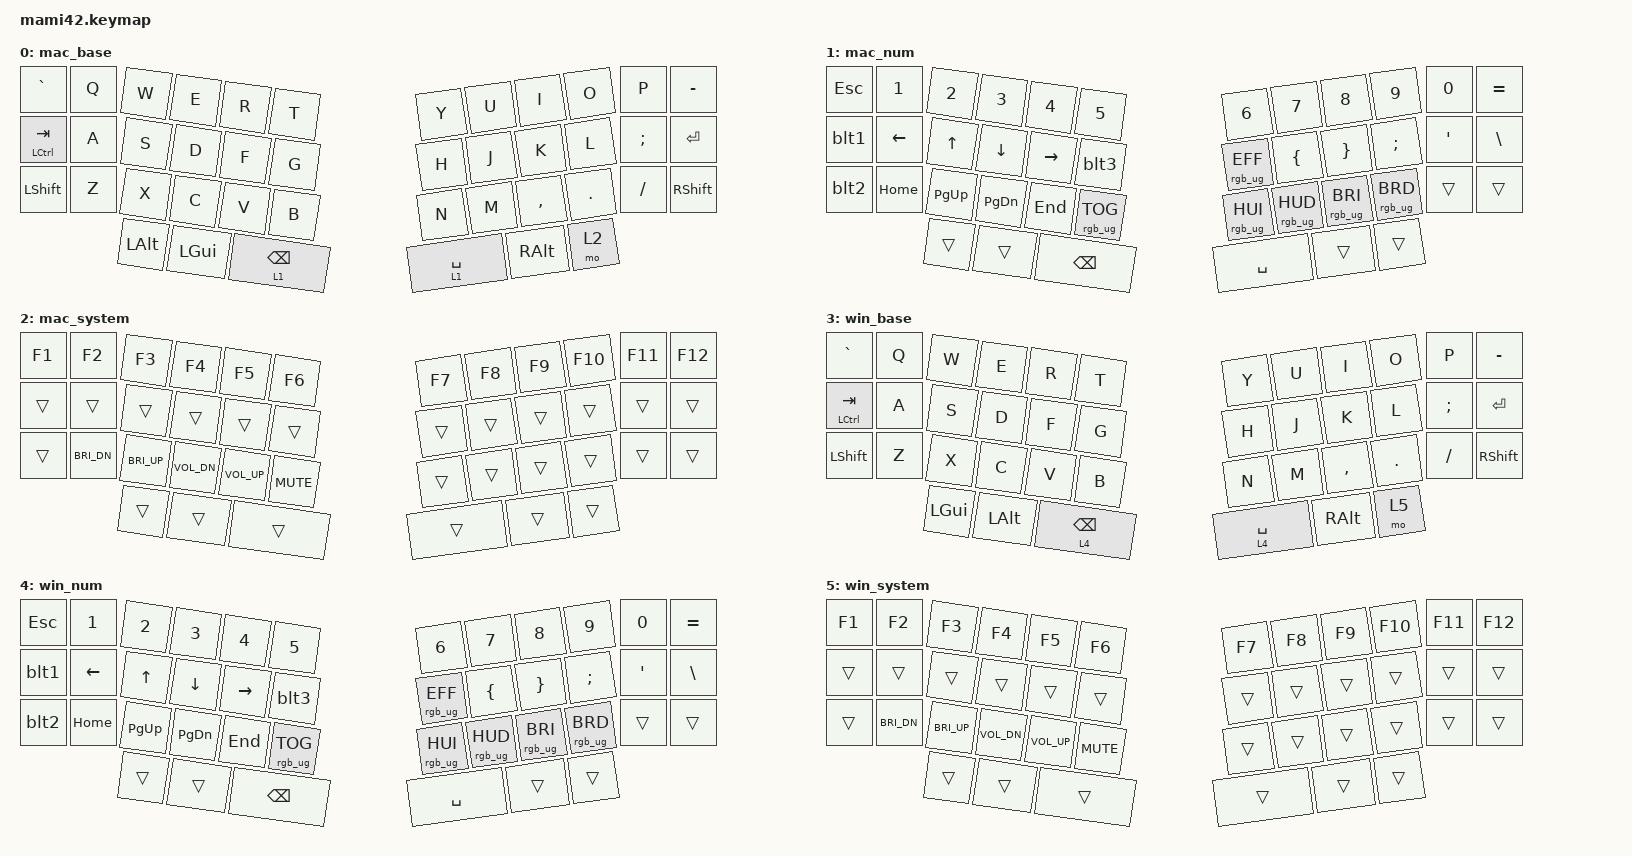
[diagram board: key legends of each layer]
/*
 * mami42 keymap
 *
 * レイヤー構成:
 *   0 mac_base   : Mac用ベースレイヤー (QWERTY)
 *   1 mac_num    : Mac用 数字/矢印/記号/BT選択/RGBレイヤー
 *   2 mac_system : Mac用 ファンクションキー/画面輝度/音量レイヤー
 *   3 win_base   : Windows用ベースレイヤー
 *                  (mac_baseのSW10とSW14を入れ替えたもの)
 *   4 win_num    : Windows用 数字/矢印/記号/BT選択/RGBレイヤー (mac_numと同一)
 *   5 win_system : Windows用 ファンクションキー/画面輝度/音量レイヤー (mac_systemと同一)
 *
 * OS切り替え: 左手中央親指キー(mac_baseではSW14、win_baseではSW10。
 *             どちらもMO(1/4)キー) + 右手中央親指キー(SW32、MO(2/5)キー)の
 *             同時押しコンボでwin_base(レイヤー3)をトグルします。コンボは
 *             物理位置(SW14+SW32)で発火するため、実際のバインディング内容に
 *             関わらず動作します。mac/win それぞれの base layer はすべての
 *             キーを明示的に定義しているので、win_base を on にするだけで
 *             mac_base を隠す(Windowsモードになる)、off にすると mac_base に戻ります。
 *
 * このファイルはたたき台です。実際の割り当ては ZMK Studio でも調整できます。
 * ベースレイヤーの物理配置は kle/layout.json と doc/matrix-mapping.md を参照してください。
 *
 * bindings配列の並びについて:
 *   各レイヤーの bindings は SW1〜SW42 の物理位置順(mami42.overlay の
 *   default_transform / physical_layout と同じ順序)で並べています。
 *   見た目通りの行優先(TAB Q W E R T / ESC A S D F G / ...)では
 *   ズレるので注意してください。各行のコメントに SW番号と (row,col) を
 *   記載しています。
 */

#include <behaviors.dtsi>
#include <dt-bindings/zmk/keys.h>
#include <dt-bindings/zmk/bt.h>
#include <dt-bindings/zmk/rgb.h>
#include <dt-bindings/zmk/outputs.h>

/ {
    macros {
        // サンプルマクロ: 記号レイヤーの空きキーで "->" を入力する例
        arrow_macro: arrow_macro {
            compatible = "zmk,behavior-macro";
            #binding-cells = <0>;
            bindings = <&kp MINUS &kp GT>;
        };

        // BT_SEL/&out に単体の名前を付けて、ZMK Studioの一覧で
        // 「BLT1」「BLT2」「BLT3」「USB」として単独選択できるようにする
        blt1: blt1 {
            compatible = "zmk,behavior-macro";
            #binding-cells = <0>;
            display-name = "BLT1";
            bindings = <&bt BT_SEL 0>;
        };

        blt2: blt2 {
            compatible = "zmk,behavior-macro";
            #binding-cells = <0>;
            display-name = "BLT2";
            bindings = <&bt BT_SEL 1>;
        };

        blt3: blt3 {
            compatible = "zmk,behavior-macro";
            #binding-cells = <0>;
            display-name = "BLT3";
            bindings = <&bt BT_SEL 2>;
        };

        usb_out: usb_out {
            compatible = "zmk,behavior-macro";
            #binding-cells = <0>;
            display-name = "USB";
            bindings = <&out OUT_USB>;
        };
    };

    combos {
        compatible = "zmk,combos";

        combo_os_toggle {
            timeout-ms = <50>;
            key-positions = <13 31>;  // 左中央親指(SW14) + 右中央親指(SW32)
            bindings = <&tog 3>;
        };

        combo_caps_word {
            timeout-ms = <50>;
            key-positions = <2 41>;  // 左Shift(SW3) + 右Shift(SW42)
            bindings = <&caps_word>;
        };
    };

    keymap {
        compatible = "zmk,keymap";

        mac_base {
            display-name = "mac_base";
            bindings = <
            &kp GRAVE       // SW1  (row0,col0)
            &mt LCTRL TAB   // SW2  (row1,col0)
            &kp LSHFT       // SW3  (row2,col0)
            &kp Q           // SW4  (row0,col1)
            &kp A           // SW5  (row1,col1)
            &kp Z           // SW6  (row2,col1)
            &kp W           // SW7  (row0,col2)
            &kp S           // SW8  (row1,col2)
            &kp X           // SW9  (row2,col2)
            &kp LALT        // SW10 (row3,col2) 左親指
            &kp E           // SW11 (row0,col3)
            &kp D           // SW12 (row1,col3)
            &kp C           // SW13 (row2,col3)
            &kp LGUI        // SW14 (row3,col3) 左親指
            &kp R           // SW15 (row0,col4)
            &kp F           // SW16 (row1,col4)
            &kp V           // SW17 (row2,col4)
            &kp T           // SW18 (row0,col5)
            &kp G           // SW19 (row1,col5)
            &kp B           // SW20 (row2,col5)
            &lt 1 BSPC      // SW21 (row3,col5) 左親指
            &kp Y           // SW22 (row4,col5)
            &kp H           // SW23 (row5,col5)
            &kp N           // SW24 (row6,col5)
            &lt 1 SPACE     // SW25 (row7,col5) 右親指
            &kp U           // SW26 (row4,col4)
            &kp J           // SW27 (row5,col4)
            &kp M           // SW28 (row6,col4)
            &kp I           // SW29 (row4,col3)
            &kp K           // SW30 (row5,col3)
            &kp COMMA       // SW31 (row6,col3)
            &kp RALT        // SW32 (row7,col3) 右親指
            &kp O           // SW33 (row4,col2)
            &kp L           // SW34 (row5,col2)
            &kp DOT         // SW35 (row6,col2)
            &mo 2           // SW36 (row7,col2) 右親指
            &kp P           // SW37 (row4,col1)
            &kp SEMI        // SW38 (row5,col1)
            &kp FSLH        // SW39 (row6,col1)
            &kp MINUS       // SW40 (row4,col0)
            &kp RET         // SW41 (row5,col0)
            &kp RSHFT       // SW42 (row6,col0)
            >;
        };

        mac_num {
            display-name = "mac_num";
            bindings = <
            &kp ESC       // SW1  (row0,col0)
            &blt1         // SW2  (row1,col0)
            &blt2         // SW3  (row2,col0)
            &kp N1        // SW4  (row0,col1)
            &kp LEFT      // SW5  (row1,col1)
            &kp HOME      // SW6  (row2,col1)
            &kp N2        // SW7  (row0,col2)
            &kp UP        // SW8  (row1,col2)
            &kp PG_UP     // SW9  (row2,col2)
            &trans        // SW10 (row3,col2) 左親指
            &kp N3        // SW11 (row0,col3)
            &kp DOWN      // SW12 (row1,col3)
            &kp PG_DN     // SW13 (row2,col3)
            &trans        // SW14 (row3,col3) 左親指
            &kp N4        // SW15 (row0,col4)
            &kp RIGHT     // SW16 (row1,col4)
            &kp END       // SW17 (row2,col4)
            &kp N5        // SW18 (row0,col5)
            &blt3         // SW19 (row1,col5)
            &rgb_ug RGB_TOG // SW20 (row2,col5)
            &kp BSPC      // SW21 (row3,col5) 左親指
            &kp N6        // SW22 (row4,col5)
            &rgb_ug RGB_EFF // SW23 (row5,col5)
            &rgb_ug RGB_HUI // SW24 (row6,col5)
            &kp SPACE     // SW25 (row7,col5) 右親指
            &kp N7        // SW26 (row4,col4)
            &kp LBRC      // SW27 (row5,col4)
            &rgb_ug RGB_HUD // SW28 (row6,col4)
            &kp N8        // SW29 (row4,col3)
            &kp RBRC      // SW30 (row5,col3)
            &rgb_ug RGB_BRI // SW31 (row6,col3)
            &trans        // SW32 (row7,col3) 右親指
            &kp N9        // SW33 (row4,col2)
            &kp SEMI      // SW34 (row5,col2)
            &rgb_ug RGB_BRD // SW35 (row6,col2)
            &trans        // SW36 (row7,col2) 右親指
            &kp N0        // SW37 (row4,col1)
            &kp SQT       // SW38 (row5,col1)
            &trans        // SW39 (row6,col1)
            &kp EQUAL     // SW40 (row4,col0)
            &kp BSLH      // SW41 (row5,col0)
            &trans        // SW42 (row6,col0)
            >;
        };

        mac_system {
            display-name = "mac_system";
            bindings = <
            &kp F1        // SW1  (row0,col0)
            &trans        // SW2  (row1,col0)
            &trans        // SW3  (row2,col0)
            &kp F2        // SW4  (row0,col1)
            &trans        // SW5  (row1,col1)
            &kp C_BRI_DN  // SW6  (row2,col1)
            &kp F3        // SW7  (row0,col2)
            &trans        // SW8  (row1,col2)
            &kp C_BRI_UP  // SW9  (row2,col2)
            &trans        // SW10 (row3,col2) 左親指
            &kp F4        // SW11 (row0,col3)
            &trans        // SW12 (row1,col3)
            &kp C_VOL_DN  // SW13 (row2,col3)
            &trans        // SW14 (row3,col3) 左親指
            &kp F5        // SW15 (row0,col4)
            &trans        // SW16 (row1,col4)
            &kp C_VOL_UP  // SW17 (row2,col4)
            &kp F6        // SW18 (row0,col5)
            &trans        // SW19 (row1,col5)
            &kp C_MUTE    // SW20 (row2,col5)
            &trans        // SW21 (row3,col5) 左親指
            &kp F7        // SW22 (row4,col5)
            &trans        // SW23 (row5,col5)
            &trans        // SW24 (row6,col5)
            &trans        // SW25 (row7,col5) 右親指
            &kp F8        // SW26 (row4,col4)
            &trans        // SW27 (row5,col4)
            &trans        // SW28 (row6,col4)
            &kp F9        // SW29 (row4,col3)
            &trans        // SW30 (row5,col3)
            &trans        // SW31 (row6,col3)
            &trans        // SW32 (row7,col3) 右親指
            &kp F10       // SW33 (row4,col2)
            &trans        // SW34 (row5,col2)
            &trans        // SW35 (row6,col2)
            &trans        // SW36 (row7,col2) 右親指
            &kp F11       // SW37 (row4,col1)
            &trans        // SW38 (row5,col1)
            &trans        // SW39 (row6,col1)
            &kp F12       // SW40 (row4,col0)
            &trans        // SW41 (row5,col0)
            &trans        // SW42 (row6,col0)
            >;
        };

        win_base {
            display-name = "win_base";
            // mac_base の SW10 と SW14 を入れ替えたもの
            bindings = <
            &kp GRAVE       // SW1  (row0,col0)
            &mt LCTRL TAB   // SW2  (row1,col0)
            &kp LSHFT       // SW3  (row2,col0)
            &kp Q           // SW4  (row0,col1)
            &kp A           // SW5  (row1,col1)
            &kp Z           // SW6  (row2,col1)
            &kp W           // SW7  (row0,col2)
            &kp S           // SW8  (row1,col2)
            &kp X           // SW9  (row2,col2)
            &kp LGUI        // SW10 (row3,col2) 左親指 (mac_baseのSW14と入替)
            &kp E           // SW11 (row0,col3)
            &kp D           // SW12 (row1,col3)
            &kp C           // SW13 (row2,col3)
            &kp LALT        // SW14 (row3,col3) 左親指 (mac_baseのSW10と入替)
            &kp R           // SW15 (row0,col4)
            &kp F           // SW16 (row1,col4)
            &kp V           // SW17 (row2,col4)
            &kp T           // SW18 (row0,col5)
            &kp G           // SW19 (row1,col5)
            &kp B           // SW20 (row2,col5)
            &lt 4 BSPC      // SW21 (row3,col5) 左親指
            &kp Y           // SW22 (row4,col5)
            &kp H           // SW23 (row5,col5)
            &kp N           // SW24 (row6,col5)
            &lt 4 SPACE     // SW25 (row7,col5) 右親指
            &kp U           // SW26 (row4,col4)
            &kp J           // SW27 (row5,col4)
            &kp M           // SW28 (row6,col4)
            &kp I           // SW29 (row4,col3)
            &kp K           // SW30 (row5,col3)
            &kp COMMA       // SW31 (row6,col3)
            &kp RALT        // SW32 (row7,col3) 右親指
            &kp O           // SW33 (row4,col2)
            &kp L           // SW34 (row5,col2)
            &kp DOT         // SW35 (row6,col2)
            &mo 5           // SW36 (row7,col2) 右親指
            &kp P           // SW37 (row4,col1)
            &kp SEMI        // SW38 (row5,col1)
            &kp FSLH        // SW39 (row6,col1)
            &kp MINUS       // SW40 (row4,col0)
            &kp RET         // SW41 (row5,col0)
            &kp RSHFT       // SW42 (row6,col0)
            >;
        };

        win_num {
            display-name = "win_num";
            // mac_num と同一 (SW10/SW14は共に&transのため入替の影響なし)
            bindings = <
            &kp ESC       // SW1  (row0,col0)
            &blt1         // SW2  (row1,col0)
            &blt2         // SW3  (row2,col0)
            &kp N1        // SW4  (row0,col1)
            &kp LEFT      // SW5  (row1,col1)
            &kp HOME      // SW6  (row2,col1)
            &kp N2        // SW7  (row0,col2)
            &kp UP        // SW8  (row1,col2)
            &kp PG_UP     // SW9  (row2,col2)
            &trans        // SW10 (row3,col2) 左親指
            &kp N3        // SW11 (row0,col3)
            &kp DOWN      // SW12 (row1,col3)
            &kp PG_DN     // SW13 (row2,col3)
            &trans        // SW14 (row3,col3) 左親指
            &kp N4        // SW15 (row0,col4)
            &kp RIGHT     // SW16 (row1,col4)
            &kp END       // SW17 (row2,col4)
            &kp N5        // SW18 (row0,col5)
            &blt3         // SW19 (row1,col5)
            &rgb_ug RGB_TOG // SW20 (row2,col5)
            &kp BSPC      // SW21 (row3,col5) 左親指
            &kp N6        // SW22 (row4,col5)
            &rgb_ug RGB_EFF // SW23 (row5,col5)
            &rgb_ug RGB_HUI // SW24 (row6,col5)
            &kp SPACE     // SW25 (row7,col5) 右親指
            &kp N7        // SW26 (row4,col4)
            &kp LBRC      // SW27 (row5,col4)
            &rgb_ug RGB_HUD // SW28 (row6,col4)
            &kp N8        // SW29 (row4,col3)
            &kp RBRC      // SW30 (row5,col3)
            &rgb_ug RGB_BRI // SW31 (row6,col3)
            &trans        // SW32 (row7,col3) 右親指
            &kp N9        // SW33 (row4,col2)
            &kp SEMI      // SW34 (row5,col2)
            &rgb_ug RGB_BRD // SW35 (row6,col2)
            &trans        // SW36 (row7,col2) 右親指
            &kp N0        // SW37 (row4,col1)
            &kp SQT       // SW38 (row5,col1)
            &trans        // SW39 (row6,col1)
            &kp EQUAL     // SW40 (row4,col0)
            &kp BSLH      // SW41 (row5,col0)
            &trans        // SW42 (row6,col0)
            >;
        };

        win_system {
            display-name = "win_system";
            // mac_system と同一 (SW10/SW14は共に&transのため入替の影響なし)
            bindings = <
            &kp F1        // SW1  (row0,col0)
            &trans        // SW2  (row1,col0)
            &trans        // SW3  (row2,col0)
            &kp F2        // SW4  (row0,col1)
            &trans        // SW5  (row1,col1)
            &kp C_BRI_DN  // SW6  (row2,col1)
            &kp F3        // SW7  (row0,col2)
            &trans        // SW8  (row1,col2)
            &kp C_BRI_UP  // SW9  (row2,col2)
            &trans        // SW10 (row3,col2) 左親指
            &kp F4        // SW11 (row0,col3)
            &trans        // SW12 (row1,col3)
            &kp C_VOL_DN  // SW13 (row2,col3)
            &trans        // SW14 (row3,col3) 左親指
            &kp F5        // SW15 (row0,col4)
            &trans        // SW16 (row1,col4)
            &kp C_VOL_UP  // SW17 (row2,col4)
            &kp F6        // SW18 (row0,col5)
            &trans        // SW19 (row1,col5)
            &kp C_MUTE    // SW20 (row2,col5)
            &trans        // SW21 (row3,col5) 左親指
            &kp F7        // SW22 (row4,col5)
            &trans        // SW23 (row5,col5)
            &trans        // SW24 (row6,col5)
            &trans        // SW25 (row7,col5) 右親指
            &kp F8        // SW26 (row4,col4)
            &trans        // SW27 (row5,col4)
            &trans        // SW28 (row6,col4)
            &kp F9        // SW29 (row4,col3)
            &trans        // SW30 (row5,col3)
            &trans        // SW31 (row6,col3)
            &trans        // SW32 (row7,col3) 右親指
            &kp F10       // SW33 (row4,col2)
            &trans        // SW34 (row5,col2)
            &trans        // SW35 (row6,col2)
            &trans        // SW36 (row7,col2) 右親指
            &kp F11       // SW37 (row4,col1)
            &trans        // SW38 (row5,col1)
            &trans        // SW39 (row6,col1)
            &kp F12       // SW40 (row4,col0)
            &trans        // SW41 (row5,col0)
            &trans        // SW42 (row6,col0)
            >;
        };
    };
};
